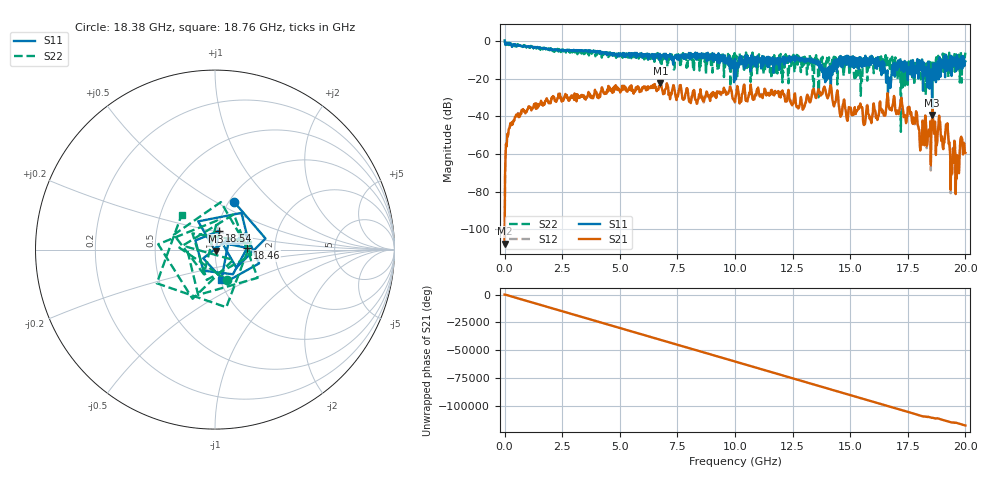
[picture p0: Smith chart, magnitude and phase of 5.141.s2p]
! Created with skrf 1.9.0 (http://scikit-rf.org).
# Hz S RI R 50.0
!freq ReS11 ImS11 ReS21 ImS21 ReS12 ImS12 ReS22 ImS22
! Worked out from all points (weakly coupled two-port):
!   1001 points, 1 MHz to 20 GHz, reference 50 ohm
!   highest |S21| = -22.15 dB at 6.761 GHz (marker M1); lowest = -107.6 dB at 1 MHz (marker M2)
!   lowest |S11| = -39.2 dB at 18.56 GHz (marker M3), VSWR 1.02, Z = 50.3 - j1.05 ohm
!   |S11| at or under -10 dB: 13.43 GHz to 14.32 GHz (889.5 MHz wide, 6.41 % of centre); 16.22 GHz to 17.16 GHz (938.3 MHz wide, 5.62 % of centre); 18.12 GHz to 18.87 GHz (750.2 MHz wide, 4.06 % of centre) (the widest 3 of 96)
!   |S22| runs from -48.2 to -0.2 dB; largest |S21 - S12| = 0.0082
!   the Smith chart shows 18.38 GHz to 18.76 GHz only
!   S11 on the Smith chart (normalised r, x): 18.38 GHz: 1.05, +0.61; 18.46 GHz: 1.44, +0.03; 18.54 GHz: 1.03, +0.22; 18.76 GHz: 1.01, -0.35
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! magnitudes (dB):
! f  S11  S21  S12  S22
! 1 MHz  0.4  -107.6  -109.0  -0.2
! 161 MHz  -1.5  -49.4  -49.4  -1.8
! 481 MHz  -1.8  -40.3  -39.8  -2.6
! 3.341 GHz  -4.8  -28.6  -28.8  -6.6
! 6.681 GHz  -7.3  -25.7  -25.3  -8.2
! 6.761 GHz  -9.0  -22.1  -22.3  -9.7
! 10 GHz  -9.5  -32.3  -32.7  -7.2
! 13.34 GHz  -10.8  -28.5  -28.1  -14.2
! 13.94 GHz  -14.4  -26.9  -27.1  -9.9
! 15.6 GHz  -9.0  -44.6  -44.6  -12.9
! 16.68 GHz  -23.1  -35.2  -35.2  -9.1
! 17.28 GHz  -11.6  -35.4  -35.5  -24.5
! 18.38 GHz  -10.8  -48.2  -48.1  -14.8
! 18.46 GHz  -14.9  -50.3  -49.6  -11.4
! 18.54 GHz  -19.3  -46.8  -46.6  -10.0
! 18.56 GHz  -39.2  -40.1  -40.4  -15.8
! 18.76 GHz  -15.3  -55.1  -54.8  -11.4
! 19.2 GHz  -15.7  -45.2  -44.9  -10.1
! 19.4 GHz  -18.5  -63.4  -62.9  -9.0
! 19.66 GHz  -12.5  -67.9  -68.0  -9.8
! 19.86 GHz  -14.7  -52.2  -51.7  -8.2
! 20 GHz  -10.7  -59.4  -58.7  -6.1
